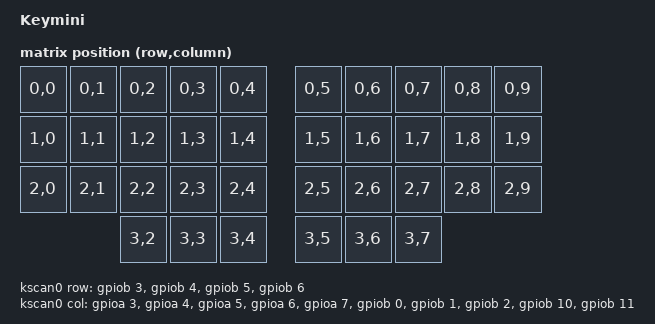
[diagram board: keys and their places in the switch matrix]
/*
 * SPDX-License-Identifier: MIT
 */

/dts-v1/;
#include <st/f0/stm32f072Xb.dtsi>
#include <st/f0/stm32f072c(8-b)tx-pinctrl.dtsi>

#include <dt-bindings/zmk/matrix_transform.h>
#include <physical_layouts.dtsi>

/ {
	model = "Keymini";
	compatible = "texitoi,keymini", "st,stm32f072";

	chosen {
		zephyr,sram = &sram0;
		zephyr,flash = &flash0;
		zmk,kscan = &kscan0;
		zmk,physical-layout = &keymini_layout;
	};

	kscan0: kscan {
		compatible = "zmk,kscan-gpio-matrix";

		diode-direction = "row2col";

		debounce-press-ms = <5>;
		debounce-release-ms = <5>;

		col-gpios
			= <&gpioa 3  (GPIO_ACTIVE_LOW | GPIO_PULL_UP)>
			, <&gpioa 4  (GPIO_ACTIVE_LOW | GPIO_PULL_UP)>
			, <&gpioa 5  (GPIO_ACTIVE_LOW | GPIO_PULL_UP)>
			, <&gpioa 6  (GPIO_ACTIVE_LOW | GPIO_PULL_UP)>
			, <&gpioa 7  (GPIO_ACTIVE_LOW | GPIO_PULL_UP)>
			, <&gpiob 0  (GPIO_ACTIVE_LOW | GPIO_PULL_UP)>
			, <&gpiob 1  (GPIO_ACTIVE_LOW | GPIO_PULL_UP)>
			, <&gpiob 2  (GPIO_ACTIVE_LOW | GPIO_PULL_UP)>
			, <&gpiob 10 (GPIO_ACTIVE_LOW | GPIO_PULL_UP)>
			, <&gpiob 11 (GPIO_ACTIVE_LOW | GPIO_PULL_UP)>
			;
		row-gpios
			= <&gpiob 3 GPIO_ACTIVE_LOW>
			, <&gpiob 4 GPIO_ACTIVE_LOW>
			, <&gpiob 5 GPIO_ACTIVE_LOW>
			, <&gpiob 6 GPIO_ACTIVE_LOW>
			;
	};

	default_transform: keymap_transform {
		compatible = "zmk,matrix-transform";
		rows = <4>;
		columns = <10>;

		map = <
			RC(0,0) RC(0,1) RC(0,2) RC(0,3) RC(0,4)   RC(0,5) RC(0,6) RC(0,7) RC(0,8) RC(0,9)
			RC(1,0) RC(1,1) RC(1,2) RC(1,3) RC(1,4)   RC(1,5) RC(1,6) RC(1,7) RC(1,8) RC(1,9)
			RC(2,0) RC(2,1) RC(2,2) RC(2,3) RC(2,4)   RC(2,5) RC(2,6) RC(2,7) RC(2,8) RC(2,9)
			                RC(3,2) RC(3,3) RC(3,4)   RC(3,5) RC(3,6) RC(3,7)
		>;
	};

	keymini_layout: physical_layout {
		compatible = "zmk,physical-layout";
		display-name = "Default";
		kscan = <&kscan0>;
		transform = <&default_transform>;

		keys  //                     w   h    x    y rot   rx   ry
			= <&key_physical_attrs 100 100    0    0 0 0 0>
			, <&key_physical_attrs 100 100  100    0 0 0 0>
			, <&key_physical_attrs 100 100  200    0 0 0 0>
			, <&key_physical_attrs 100 100  300    0 0 0 0>
			, <&key_physical_attrs 100 100  400    0 0 0 0>
			, <&key_physical_attrs 100 100  550    0 0 0 0>
			, <&key_physical_attrs 100 100  650    0 0 0 0>
			, <&key_physical_attrs 100 100  750    0 0 0 0>
			, <&key_physical_attrs 100 100  850    0 0 0 0>
			, <&key_physical_attrs 100 100  950    0 0 0 0>
			, <&key_physical_attrs 100 100    0  100 0 0 0>
			, <&key_physical_attrs 100 100  100  100 0 0 0>
			, <&key_physical_attrs 100 100  200  100 0 0 0>
			, <&key_physical_attrs 100 100  300  100 0 0 0>
			, <&key_physical_attrs 100 100  400  100 0 0 0>
			, <&key_physical_attrs 100 100  550  100 0 0 0>
			, <&key_physical_attrs 100 100  650  100 0 0 0>
			, <&key_physical_attrs 100 100  750  100 0 0 0>
			, <&key_physical_attrs 100 100  850  100 0 0 0>
			, <&key_physical_attrs 100 100  950  100 0 0 0>
			, <&key_physical_attrs 100 100    0  200 0 0 0>
			, <&key_physical_attrs 100 100  100  200 0 0 0>
			, <&key_physical_attrs 100 100  200  200 0 0 0>
			, <&key_physical_attrs 100 100  300  200 0 0 0>
			, <&key_physical_attrs 100 100  400  200 0 0 0>
			, <&key_physical_attrs 100 100  550  200 0 0 0>
			, <&key_physical_attrs 100 100  650  200 0 0 0>
			, <&key_physical_attrs 100 100  750  200 0 0 0>
			, <&key_physical_attrs 100 100  850  200 0 0 0>
			, <&key_physical_attrs 100 100  950  200 0 0 0>
			, <&key_physical_attrs 100 100  200  300 0 0 0>
			, <&key_physical_attrs 100 100  300  300 0 0 0>
			, <&key_physical_attrs 100 100  400  300 0 0 0>
			, <&key_physical_attrs 100 100  550  300 0 0 0>
			, <&key_physical_attrs 100 100  650  300 0 0 0>
			, <&key_physical_attrs 100 100  750  300 0 0 0>
			;
	};
};

zephyr_udc0: &usb {
	status = "okay";

	pinctrl-0 = <&usb_dm_pa11 &usb_dp_pa12>;
	pinctrl-names = "default";

	/* Reduce from the default to save RAM */
	num-bidir-endpoints = <4>;
};

&clk_hsi {
	status = "okay";
};

&clk_hsi48 {
	status = "okay";
};

&pll {
	prediv = <1>;
	mul = <6>;
	clocks = <&clk_hsi>;
	status = "okay";
};

&rcc {
	clocks = <&pll>;
	clock-frequency = <DT_FREQ_M(48)>;
	ahb-prescaler = <1>;
	apb1-prescaler = <1>;
};

&flash0 {
	partitions {
		compatible = "fixed-partitions";
		#address-cells = <1>;
		#size-cells = <1>;

		/* 6 KB of storage at the end of the 128 KB flash */
		storage_partition: partition@1e800 {
			label = "storage";
			reg = <0x0001e800 0x00001800>;
		};
	};
};
